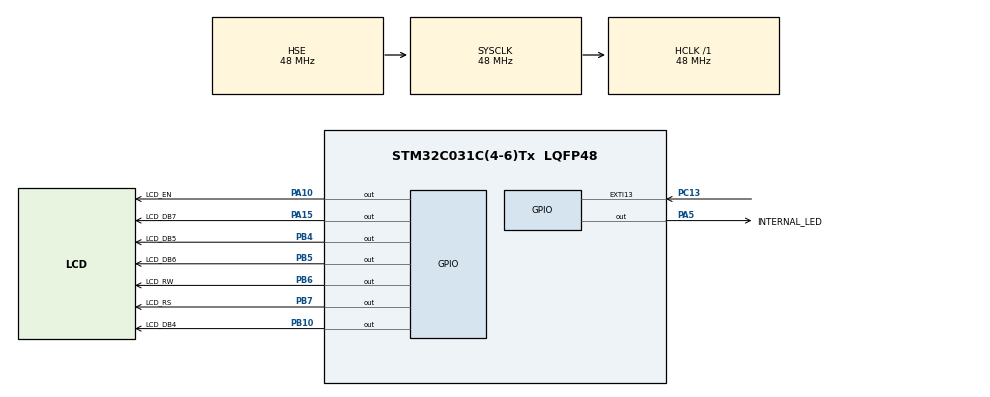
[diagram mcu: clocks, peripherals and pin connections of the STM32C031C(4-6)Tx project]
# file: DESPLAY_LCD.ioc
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Mcu.Family=STM32C0
Mcu.Name=STM32C031C(4-6)Tx
Mcu.Package=LQFP48
PA10.GPIO_Label=LCD_EN
PA10.Signal=GPIO_Output
PA13.GPIO_Label=DEBUG_SWDIO
PA13.Signal=DEBUG_SWDIO
PA14-BOOT0.GPIO_Label=DEBUG_SWCLK
PA14-BOOT0.Signal=DEBUG_SWCLK
PA15.GPIO_Label=LCD_DB7
PA15.Signal=GPIO_Output
PA2.GPIO_Label=VCP_USART2_TX
PA2.Signal=USART2_TX
PA3.GPIO_Label=VCP_USART2_RX
PA3.Signal=USART2_RX
PA5.GPIO_Label=INTERNAL_LED
PA5.Signal=GPIO_Output
PB10.GPIO_Label=LCD_DB4
PB10.Signal=GPIO_Output
PB4.GPIO_Label=LCD_DB5
PB4.Signal=GPIO_Output
PB5.GPIO_Label=LCD_DB6
PB5.Signal=GPIO_Output
PB6.GPIO_Label=LCD_RW
PB6.Signal=GPIO_Output
PB7.GPIO_Label=LCD_RS
PB7.Signal=GPIO_Output
PC13.Signal=GPXTI13
PC14-OSCX_IN\ (PC14).GPIO_Label=RCC_OSCX_IN
PC14-OSCX_IN\ (PC14).Mode=LSE-External-Oscillator
PC14-OSCX_IN\ (PC14).Signal=RCC_OSCX_IN
PC15-OSCX_OUT\ (PC15).GPIO_Label=RCC_OSCX_OUT
PC15-OSCX_OUT\ (PC15).Mode=LSE-External-Oscillator
PC15-OSCX_OUT\ (PC15).Signal=RCC_OSCX_OUT
PF0-OSC_IN\ (PF0).GPIO_Label=RCC_OSC_IN
PF0-OSC_IN\ (PF0).Mode=HSE-External-Oscillator
PF0-OSC_IN\ (PF0).Signal=RCC_OSC_IN
PF1-OSC_OUT\ (PF1).GPIO_Label=RCC_OSC_OUT
PF1-OSC_OUT\ (PF1).Mode=HSE-External-Oscillator
PF1-OSC_OUT\ (PF1).Signal=RCC_OSC_OUT
ProjectManager.HeapSize=0x200
ProjectManager.StackSize=0x400
ProjectManager.TargetToolchain=STM32CubeIDE
RCC.ADCFreq_Value=48000000
RCC.AHBFreq_Value=48000000
RCC.CortexFreq_Value=48000000
RCC.EXTERNAL_CLOCK_VALUE=12288000
RCC.HCLKFreq_Value=48000000
RCC.HSE_VALUE=48000000
RCC.HSISYSCLKDivider=RCC_HSI_DIV1
RCC.HSI_VALUE=48000000
RCC.SYSCLKFreq_VALUE=48000000
RCC.SYSCLKSource=RCC_SYSCLKSOURCE_HSE
board=NUCLEO-C031C6

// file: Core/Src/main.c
/* USER CODE BEGIN Header */
/**
  ******************************************************************************
  * @file           : main.c
  * @brief          : Main program body
  ******************************************************************************
  * @attention
  *
  * Copyright (c) 2026 STMicroelectronics.
  * All rights reserved.
  *
  * This software is licensed under terms that can be found in the LICENSE file
  * in the root directory of this software component.
  * If no LICENSE file comes with this software, it is provided AS-IS.
  *
  ******************************************************************************
  */
/* USER CODE END Header */
#include "main.h"

void SystemClock_Config(void);
static void MX_GPIO_Init(void);

/* USER CODE BEGIN 0 */
/* USER CODE BEGIN 0 */
#include "string.h"

void LCD_Pulse_EN(void) {
    LL_GPIO_SetOutputPin(LCD_EN_GPIO_Port, LCD_EN_Pin);
    HAL_Delay(1);
    LL_GPIO_ResetOutputPin(LCD_EN_GPIO_Port, LCD_EN_Pin);
    HAL_Delay(1);
}

void LCD_Send_Nibble(uint8_t nibble) {
    // DB4..DB7
    if (nibble & 0x01) LL_GPIO_SetOutputPin(LCD_DB4_GPIO_Port, LCD_DB4_Pin);
    else               LL_GPIO_ResetOutputPin(LCD_DB4_GPIO_Port, LCD_DB4_Pin);

    if (nibble & 0x02) LL_GPIO_SetOutputPin(LCD_DB5_GPIO_Port, LCD_DB5_Pin);
    else               LL_GPIO_ResetOutputPin(LCD_DB5_GPIO_Port, LCD_DB5_Pin);

    if (nibble & 0x04) LL_GPIO_SetOutputPin(LCD_DB6_GPIO_Port, LCD_DB6_Pin);
    else               LL_GPIO_ResetOutputPin(LCD_DB6_GPIO_Port, LCD_DB6_Pin);

    if (nibble & 0x08) LL_GPIO_SetOutputPin(LCD_DB7_GPIO_Port, LCD_DB7_Pin);
    else               LL_GPIO_ResetOutputPin(LCD_DB7_GPIO_Port, LCD_DB7_Pin);

    LCD_Pulse_EN();
}

void LCD_Send_Byte(uint8_t byte, uint8_t isData) {
    // RW = 0 (write), RS = 0 cmd / 1 data
    LL_GPIO_ResetOutputPin(LCD_RW_GPIO_Port, LCD_RW_Pin);

    if (isData) LL_GPIO_SetOutputPin(LCD_RS_GPIO_Port, LCD_RS_Pin);
    else        LL_GPIO_ResetOutputPin(LCD_RS_GPIO_Port, LCD_RS_Pin);

    LCD_Send_Nibble(byte >> 4);   // nibble alto prima
    LCD_Send_Nibble(byte & 0x0F); // nibble basso
    HAL_Delay(2);
}

void LCD_Init(void) {
    HAL_Delay(50); // attesa power-on

    // Sequenza inizializzazione 4-bit (HD44780)
    LL_GPIO_ResetOutputPin(LCD_RS_GPIO_Port, LCD_RS_Pin);
    LL_GPIO_ResetOutputPin(LCD_RW_GPIO_Port, LCD_RW_Pin);

    LCD_Send_Nibble(0x03); HAL_Delay(5);
    LCD_Send_Nibble(0x03); HAL_Delay(1);
    LCD_Send_Nibble(0x03); HAL_Delay(1);
    LCD_Send_Nibble(0x02); HAL_Delay(1); // passa a 4-bit

    LCD_Send_Byte(0x28, 0); // 4-bit, 2 righe, 5x8
    LCD_Send_Byte(0x0C, 0); // display ON, cursore OFF
    LCD_Send_Byte(0x06, 0); // incremento automatico
    LCD_Send_Byte(0x01, 0); // clear display
    HAL_Delay(2);
}

void LCD_Print(const char *str) {
    while (*str) {
        LCD_Send_Byte((uint8_t)*str++, 1);
    }
}
void LCD_Set_Cursor(uint8_t row, uint8_t col) {
    uint8_t address = (row == 0) ? 0x00 : 0x40;
    address += col;
    LCD_Send_Byte(0x80 | address, 0);
}
/* USER CODE END 0 */
/* USER CODE END 0 */

int main(void)
{

  /* MCU Configuration--------------------------------------------------------*/

  /* Reset of all peripherals, Initializes the Flash interface and the Systick. */
  HAL_Init();

  /* Configure the system clock */
  SystemClock_Config();

  /* Initialize all configured peripherals */
  MX_GPIO_Init();
  /* USER CODE BEGIN 2 */
  /* USER CODE BEGIN 2 */
  /* USER CODE BEGIN 2 */
  LCD_Init();
  LCD_Set_Cursor(0, 0);
  LCD_Print("Alonso");
  LCD_Set_Cursor(1, 0);
  LCD_Print("Guevara");
  /* USER CODE END 2 */
  /* USER CODE END 2 */
  /* USER CODE END 2 */

  /* Infinite loop */
  while (1)
  {

  }
}

void SystemClock_Config(void)
{
  RCC_OscInitTypeDef RCC_OscInitStruct = {0};
  RCC_ClkInitTypeDef RCC_ClkInitStruct = {0};

  __HAL_FLASH_SET_LATENCY(FLASH_LATENCY_1);

  /** Initializes the RCC Oscillators according to the specified parameters
  * in the RCC_OscInitTypeDef structure.
  */
  RCC_OscInitStruct.OscillatorType = RCC_OSCILLATORTYPE_HSE;
  RCC_OscInitStruct.HSEState = RCC_HSE_ON;
  if (HAL_RCC_OscConfig(&RCC_OscInitStruct) != HAL_OK)
  {
    Error_Handler();
  }

  /** Initializes the CPU, AHB and APB buses clocks
  */
  RCC_ClkInitStruct.ClockType = RCC_CLOCKTYPE_HCLK|RCC_CLOCKTYPE_SYSCLK
                              |RCC_CLOCKTYPE_PCLK1;
  RCC_ClkInitStruct.SYSCLKSource = RCC_SYSCLKSOURCE_HSE;
  RCC_ClkInitStruct.SYSCLKDivider = RCC_SYSCLK_DIV1;
  RCC_ClkInitStruct.AHBCLKDivider = RCC_HCLK_DIV1;
  RCC_ClkInitStruct.APB1CLKDivider = RCC_APB1_DIV1;

  if (HAL_RCC_ClockConfig(&RCC_ClkInitStruct, FLASH_LATENCY_1) != HAL_OK)
  {
    Error_Handler();
  }
}

static void MX_GPIO_Init(void)
{
  LL_GPIO_InitTypeDef GPIO_InitStruct = {0};

  /* GPIO Ports Clock Enable */
  LL_IOP_GRP1_EnableClock(LL_IOP_GRP1_PERIPH_GPIOC);
  LL_IOP_GRP1_EnableClock(LL_IOP_GRP1_PERIPH_GPIOF);
  LL_IOP_GRP1_EnableClock(LL_IOP_GRP1_PERIPH_GPIOA);
  LL_IOP_GRP1_EnableClock(LL_IOP_GRP1_PERIPH_GPIOB);

  /**/
  LL_GPIO_ResetOutputPin(USER_BUTTON_GPIO_Port, USER_BUTTON_Pin);

  /**/
  LL_GPIO_ResetOutputPin(INTERNAL_LED_GPIO_Port, INTERNAL_LED_Pin);

  /**/
  LL_GPIO_ResetOutputPin(LCD_DB4_GPIO_Port, LCD_DB4_Pin);

  /**/
  LL_GPIO_ResetOutputPin(LCD_EN_GPIO_Port, LCD_EN_Pin);

  /**/
  LL_GPIO_ResetOutputPin(LCD_DB7_GPIO_Port, LCD_DB7_Pin);

  /**/
  LL_GPIO_ResetOutputPin(LCD_DB5_GPIO_Port, LCD_DB5_Pin);

  /**/
  LL_GPIO_ResetOutputPin(LCD_DB6_GPIO_Port, LCD_DB6_Pin);

  /**/
  LL_GPIO_ResetOutputPin(LCD_RW_GPIO_Port, LCD_RW_Pin);

  /**/
  LL_GPIO_ResetOutputPin(LCD_RS_GPIO_Port, LCD_RS_Pin);

  /**/
  GPIO_InitStruct.Pin = USER_BUTTON_Pin;
  GPIO_InitStruct.Mode = LL_GPIO_MODE_OUTPUT;
  GPIO_InitStruct.Speed = LL_GPIO_SPEED_FREQ_LOW;
  GPIO_InitStruct.OutputType = LL_GPIO_OUTPUT_PUSHPULL;
  GPIO_InitStruct.Pull = LL_GPIO_PULL_NO;
  LL_GPIO_Init(USER_BUTTON_GPIO_Port, &GPIO_InitStruct);

  /**/
  GPIO_InitStruct.Pin = VCP_USART2_TX_Pin;
  GPIO_InitStruct.Mode = LL_GPIO_MODE_ALTERNATE;
  GPIO_InitStruct.Speed = LL_GPIO_SPEED_FREQ_LOW;
  GPIO_InitStruct.OutputType = LL_GPIO_OUTPUT_PUSHPULL;
  GPIO_InitStruct.Pull = LL_GPIO_PULL_NO;
  GPIO_InitStruct.Alternate = LL_GPIO_AF_1;
  LL_GPIO_Init(VCP_USART2_TX_GPIO_Port, &GPIO_InitStruct);

  /**/
  GPIO_InitStruct.Pin = VCP_USART2_RX_Pin;
  GPIO_InitStruct.Mode = LL_GPIO_MODE_ALTERNATE;
  GPIO_InitStruct.Speed = LL_GPIO_SPEED_FREQ_LOW;
  GPIO_InitStruct.OutputType = LL_GPIO_OUTPUT_PUSHPULL;
  GPIO_InitStruct.Pull = LL_GPIO_PULL_NO;
  GPIO_InitStruct.Alternate = LL_GPIO_AF_1;
  LL_GPIO_Init(VCP_USART2_RX_GPIO_Port, &GPIO_InitStruct);

  /**/
  GPIO_InitStruct.Pin = INTERNAL_LED_Pin;
  GPIO_InitStruct.Mode = LL_GPIO_MODE_OUTPUT;
  GPIO_InitStruct.Speed = LL_GPIO_SPEED_FREQ_LOW;
  GPIO_InitStruct.OutputType = LL_GPIO_OUTPUT_PUSHPULL;
  GPIO_InitStruct.Pull = LL_GPIO_PULL_NO;
  LL_GPIO_Init(INTERNAL_LED_GPIO_Port, &GPIO_InitStruct);

  /**/
  GPIO_InitStruct.Pin = LCD_DB4_Pin;
  GPIO_InitStruct.Mode = LL_GPIO_MODE_OUTPUT;
  GPIO_InitStruct.Speed = LL_GPIO_SPEED_FREQ_LOW;
  GPIO_InitStruct.OutputType = LL_GPIO_OUTPUT_PUSHPULL;
  GPIO_InitStruct.Pull = LL_GPIO_PULL_NO;
  LL_GPIO_Init(LCD_DB4_GPIO_Port, &GPIO_InitStruct);

  /**/
  GPIO_InitStruct.Pin = LCD_EN_Pin;
  GPIO_InitStruct.Mode = LL_GPIO_MODE_OUTPUT;
  GPIO_InitStruct.Speed = LL_GPIO_SPEED_FREQ_LOW;
  GPIO_InitStruct.OutputType = LL_GPIO_OUTPUT_PUSHPULL;
  GPIO_InitStruct.Pull = LL_GPIO_PULL_NO;
  LL_GPIO_Init(LCD_EN_GPIO_Port, &GPIO_InitStruct);

  /**/
  GPIO_InitStruct.Pin = LCD_DB7_Pin;
  GPIO_InitStruct.Mode = LL_GPIO_MODE_OUTPUT;
  GPIO_InitStruct.Speed = LL_GPIO_SPEED_FREQ_LOW;
  GPIO_InitStruct.OutputType = LL_GPIO_OUTPUT_PUSHPULL;
  GPIO_InitStruct.Pull = LL_GPIO_PULL_NO;
  LL_GPIO_Init(LCD_DB7_GPIO_Port, &GPIO_InitStruct);

  /**/
  GPIO_InitStruct.Pin = LCD_DB5_Pin;
  GPIO_InitStruct.Mode = LL_GPIO_MODE_OUTPUT;
  GPIO_InitStruct.Speed = LL_GPIO_SPEED_FREQ_LOW;
  GPIO_InitStruct.OutputType = LL_GPIO_OUTPUT_PUSHPULL;
  GPIO_InitStruct.Pull = LL_GPIO_PULL_NO;
  LL_GPIO_Init(LCD_DB5_GPIO_Port, &GPIO_InitStruct);

  /**/
  GPIO_InitStruct.Pin = LCD_DB6_Pin;
  GPIO_InitStruct.Mode = LL_GPIO_MODE_OUTPUT;
  GPIO_InitStruct.Speed = LL_GPIO_SPEED_FREQ_LOW;
  GPIO_InitStruct.OutputType = LL_GPIO_OUTPUT_PUSHPULL;
  GPIO_InitStruct.Pull = LL_GPIO_PULL_NO;
  LL_GPIO_Init(LCD_DB6_GPIO_Port, &GPIO_InitStruct);

  /**/
  GPIO_InitStruct.Pin = LCD_RW_Pin;
  GPIO_InitStruct.Mode = LL_GPIO_MODE_OUTPUT;
  GPIO_InitStruct.Speed = LL_GPIO_SPEED_FREQ_LOW;
  GPIO_InitStruct.OutputType = LL_GPIO_OUTPUT_PUSHPULL;
  GPIO_InitStruct.Pull = LL_GPIO_PULL_NO;
  LL_GPIO_Init(LCD_RW_GPIO_Port, &GPIO_InitStruct);

  /**/
  GPIO_InitStruct.Pin = LCD_RS_Pin;
  GPIO_InitStruct.Mode = LL_GPIO_MODE_OUTPUT;
  GPIO_InitStruct.Speed = LL_GPIO_SPEED_FREQ_LOW;
  GPIO_InitStruct.OutputType = LL_GPIO_OUTPUT_PUSHPULL;
  GPIO_InitStruct.Pull = LL_GPIO_PULL_NO;
  LL_GPIO_Init(LCD_RS_GPIO_Port, &GPIO_InitStruct);

}

void Error_Handler(void)
{
  __disable_irq();
  while (1)
  {
  }
}
